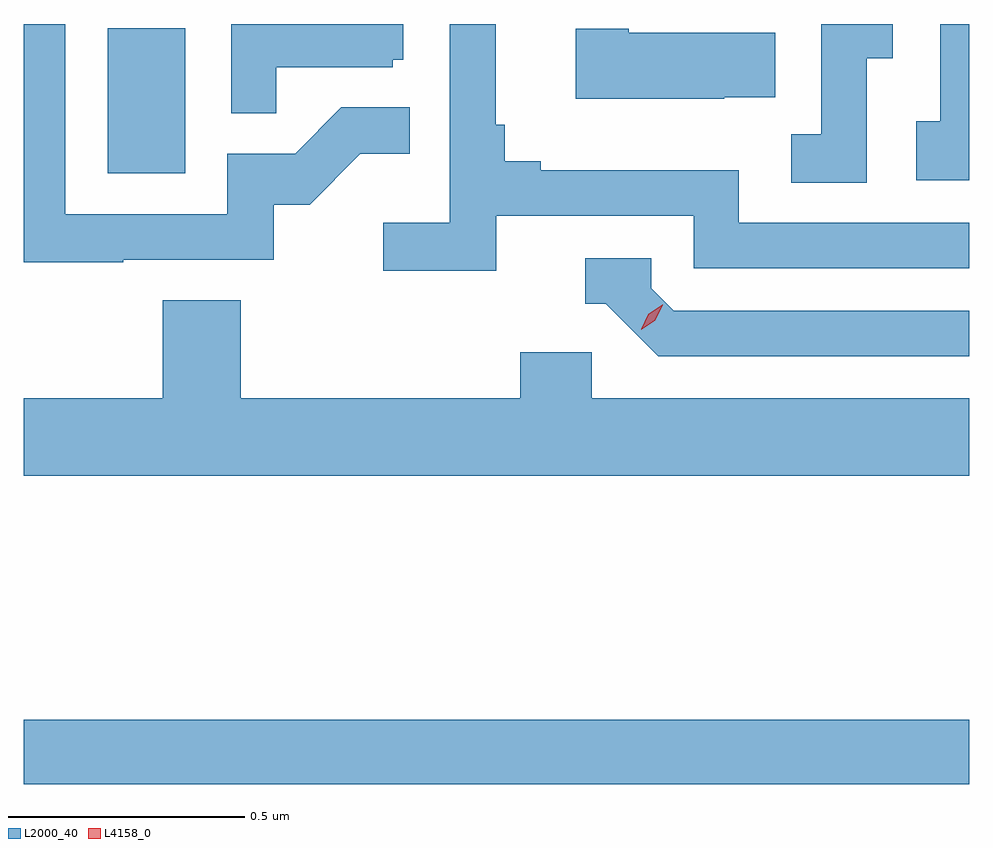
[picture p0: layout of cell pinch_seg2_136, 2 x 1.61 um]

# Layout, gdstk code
import gdstk
lib = gdstk.Library(unit=1e-6, precision=1e-09)
def R(c, l, rs):  # rectangles x0, y0, x1, y1
    for r in rs: c.add(gdstk.rectangle(r[:2], r[2:], *l))
def P(c, l, *ps):  # polygons
    for p in ps: c.add(gdstk.Polygon(p, *l))
L2000_40 = (2000, 40)
L4158_0 = (4158, 0)

pinch_seg2_136 = lib.new_cell('pinch_seg2_136')
R(pinch_seg2_136, L2000_40, [(1045.151,625.672,1047.151,625.808), (1045.328,626.964,1045.492,627.271)])
P(pinch_seg2_136, L2000_40, [(1046.15,626.874),(1046.568,626.874),(1046.568,626.763),(1047.151,626.763),(1047.151,626.859),(1046.664,626.859),(1046.664,626.971),(1046.245,626.971),(1046.245,626.99),(1046.168,626.99),(1046.168,627.067),(1046.149,627.067),(1046.149,627.28),(1046.052,627.28),(1046.052,626.86),(1045.911,626.86),(1045.911,626.758),(1046.15,626.758)],
  [(1046.934,627.208),(1046.989,627.208),(1046.989,627.28),(1046.838,627.28),(1046.838,627.047),(1046.775,627.047),(1046.775,626.944),(1046.934,626.944)],
  [(1045.685,627.189),(1045.932,627.189),(1045.932,627.204),(1045.954,627.204),(1045.954,627.28),(1045.59,627.28),(1045.59,627.091),(1045.685,627.091)],
  [(1045.361,626.781),(1045.68,626.781),(1045.68,626.898),(1045.756,626.898),(1045.863,627.005),(1045.967,627.005),(1045.967,627.104),(1045.823,627.104),(1045.725,627.006),(1045.581,627.006),(1045.581,626.877),(1045.239,626.877),(1045.239,627.28),(1045.151,627.28),(1045.151,626.776),(1045.361,626.776)],
  [(1047.151,627.28),(1047.09,627.28),(1047.09,627.074),(1047.039,627.074),(1047.039,626.949),(1047.151,626.949)],
  [(1046.633,627.125),(1046.741,627.125),(1046.741,627.262),(1046.431,627.262),(1046.431,627.27),(1046.319,627.27),(1046.319,627.122),(1046.633,627.122)],
  [(1047.151,626.673),(1046.526,626.673),(1046.478,626.721),(1046.478,626.784),(1046.339,626.784),(1046.339,626.688),(1046.382,626.688),(1046.493,626.577),(1047.151,626.577)],
  [(1047.151,626.488),(1046.352,626.488),(1046.352,626.586),(1046.201,626.586),(1046.201,626.488),(1045.61,626.488),(1045.61,626.696),(1045.445,626.696),(1045.445,626.488),(1045.151,626.488),(1045.151,626.324),(1047.151,626.324)])
P(pinch_seg2_136, L4158_0, [(1046.457,626.633),(1046.457,626.634),(1046.472,626.666),(1046.502,626.686),(1046.503,626.686),(1046.503,626.686),(1046.487,626.653),(1046.457,626.633)])

lib.write_gds('pinch_seg2_136.gds')
